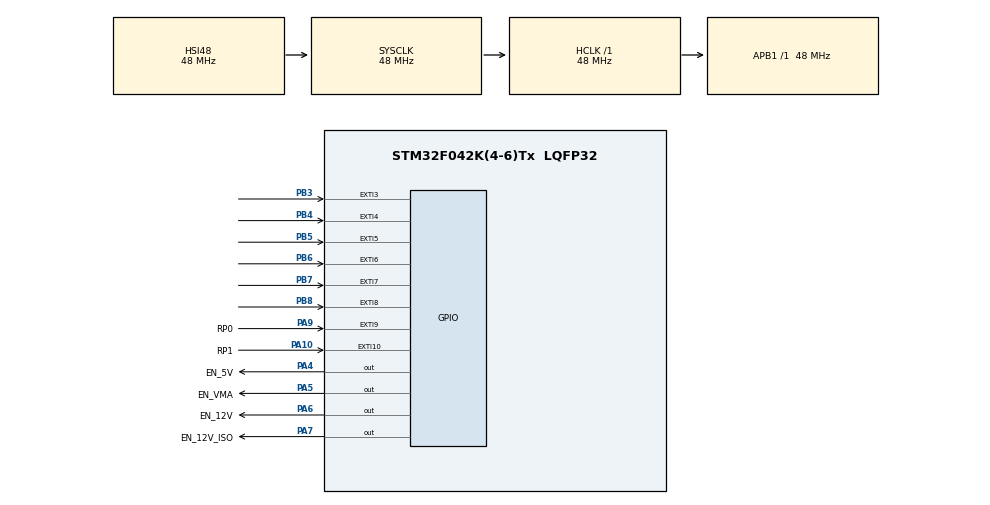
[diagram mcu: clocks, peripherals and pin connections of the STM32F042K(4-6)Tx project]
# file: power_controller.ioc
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Mcu.Family=STM32F0
Mcu.Name=STM32F042K(4-6)Tx
Mcu.Package=LQFP32
NVIC.EXTI2_3_IRQn=true\:0\:0\:false\:false\:true\:true\:true\:true
NVIC.EXTI4_15_IRQn=true\:0\:0\:false\:false\:true\:true\:true\:true
PA10.GPIO_Label=RP1
PA10.Signal=GPXTI10
PA13.Mode=Serial_Wire
PA13.Signal=SYS_SWDIO
PA14.Mode=Serial_Wire
PA14.Signal=SYS_SWCLK
PA4.GPIO_Label=EN_5V
PA4.Signal=GPIO_Output
PA5.GPIO_Label=EN_VMA
PA5.Signal=GPIO_Output
PA6.GPIO_Label=EN_12V
PA6.Signal=GPIO_Output
PA7.GPIO_Label=EN_12V_ISO
PA7.Signal=GPIO_Output
PA9.GPIO_Label=RP0
PA9.Signal=GPXTI9
PB3.Signal=GPXTI3
PB4.Signal=GPXTI4
PB5.Signal=GPXTI5
PB6.Signal=GPXTI6
PB7.Signal=GPXTI7
PB8.Signal=GPXTI8
PF0-OSC_IN.Mode=HSE-External-Oscillator
PF0-OSC_IN.Signal=RCC_OSC_IN
PF1-OSC_OUT.Mode=HSE-External-Oscillator
PF1-OSC_OUT.Signal=RCC_OSC_OUT
ProjectManager.HeapSize=0x200
ProjectManager.StackSize=0x400
ProjectManager.TargetToolchain=STM32CubeIDE
RCC.AHBFreq_Value=48000000
RCC.APB1Freq_Value=48000000
RCC.APB1TimFreq_Value=48000000
RCC.HCLKFreq_Value=48000000
RCC.PLLSourceVirtual=RCC_PLLSOURCE_HSE
RCC.SYSCLKFreq_VALUE=48000000
RCC.SYSCLKSource=RCC_SYSCLKSOURCE_HSI48
board=custom

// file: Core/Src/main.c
/* USER CODE BEGIN Header */
/**
  ******************************************************************************
  * @file           : main.c
  * @brief          : Main program body
  ******************************************************************************
  * @attention
  *
  * Copyright (c) 2023 STMicroelectronics.
  * All rights reserved.
  *
  * This software is licensed under terms that can be found in the LICENSE file
  * in the root directory of this software component.
  * If no LICENSE file comes with this software, it is provided AS-IS.
  *
  ******************************************************************************
  */
/* USER CODE END Header */
#include "main.h"

/* USER CODE BEGIN Includes */
#include <stdbool.h>
/* USER CODE END Includes */

/* USER CODE BEGIN PV */
 bool button_flag = false;
 bool button4 = false;
 bool button5 = false;
 bool button6 = false;
 bool button7 = false;

/* USER CODE END PV */

void SystemClock_Config(void);
static void MX_GPIO_Init(void);
/* USER CODE BEGIN PFP */
void Power_State_Machine(void);
/* USER CODE END PFP */

/* USER CODE BEGIN 0 */
//struct states{
//static const uint8_t STATE_1; // default state, all peripheral is off except thrusters controller
//static const uint8_t STATE_2; // 5V and 22V ENABLE
//static const uint8_t STATE_3; // 12V ENABLE
//static const uint8_t STATE_4; // 22V ENABLE
//static const uint8_t STATE_5; // RESET (go to STATE_1 for 5s then return to previous state
//};
/* USER CODE END 0 */

int main(void)
{

  /* MCU Configuration--------------------------------------------------------*/

  /* Reset of all peripherals, Initializes the Flash interface and the Systick. */
  HAL_Init();

  /* Configure the system clock */
  SystemClock_Config();

  /* Initialize all configured peripherals */
  MX_GPIO_Init();

  /* Infinite loop */
  while (1)
  {

    /* USER CODE BEGIN 3 */

	  if(button7){ //STATE 2 ( RP, WIFI, UWB)
		  HAL_GPIO_WritePin(GPIOA,EN_VMA_Pin, GPIO_PIN_RESET);
		  HAL_GPIO_WritePin(GPIOA,EN_5V_Pin, GPIO_PIN_SET);
		  HAL_GPIO_WritePin(GPIOA,EN_12V_Pin, GPIO_PIN_RESET);
		  HAL_GPIO_WritePin(GPIOA,EN_12V_ISO_Pin, GPIO_PIN_RESET);
		  button7 = false;
	  }

	  if(button6){ //STATE 3 ( RP, WIFI, UWB, UWave)
		  HAL_GPIO_WritePin(GPIOA,EN_VMA_Pin, GPIO_PIN_RESET);
		  HAL_GPIO_WritePin(GPIOA,EN_5V_Pin, GPIO_PIN_SET);
		  HAL_GPIO_WritePin(GPIOA,EN_12V_Pin, GPIO_PIN_SET);
		  HAL_GPIO_WritePin(GPIOA,EN_12V_ISO_Pin, GPIO_PIN_SET);
		  button6 = false;
	  }

	  if(button5){ //STATE 4 ( RP, WIFI, UWB, UWave, VMA  ALL ON)
		  HAL_GPIO_WritePin(GPIOA,EN_5V_Pin, GPIO_PIN_SET);
		  HAL_GPIO_WritePin(GPIOA,EN_VMA_Pin, GPIO_PIN_SET);
		  HAL_GPIO_WritePin(GPIOA,EN_12V_Pin, GPIO_PIN_SET);
		  HAL_GPIO_WritePin(GPIOA,EN_12V_ISO_Pin, GPIO_PIN_SET);
		  button5 = false;
	  }

	  if(button4){ //STATE 5 ( ALL OFF)
		  HAL_GPIO_WritePin(GPIOA,EN_5V_Pin, GPIO_PIN_RESET);
		  HAL_GPIO_WritePin(GPIOA,EN_VMA_Pin, GPIO_PIN_RESET);
		  HAL_GPIO_WritePin(GPIOA,EN_12V_Pin, GPIO_PIN_RESET);
		  HAL_GPIO_WritePin(GPIOA,EN_12V_ISO_Pin, GPIO_PIN_RESET);
		  button4 = false;
	  }
		 // HAL_GPIO_WritePin(GPIOA,EN_5V_Pin, GPIO_PIN_SET);

		  //VMA turn on
		  if((HAL_GPIO_ReadPin(GPIOA,RP0_Pin)==GPIO_PIN_SET) && (HAL_GPIO_ReadPin(GPIOA,RP1_Pin)==GPIO_PIN_RESET))
			  HAL_GPIO_WritePin(GPIOA,EN_VMA_Pin, GPIO_PIN_SET);
		  else
			  //VMA turn off (State 3)
			  HAL_GPIO_WritePin(GPIOA,EN_VMA_Pin, GPIO_PIN_RESET);
	//Power_State_Machine();
//  }
  /* USER CODE END 3 */
}
}

void SystemClock_Config(void)
{
  RCC_OscInitTypeDef RCC_OscInitStruct = {0};
  RCC_ClkInitTypeDef RCC_ClkInitStruct = {0};

  /** Initializes the RCC Oscillators according to the specified parameters
  * in the RCC_OscInitTypeDef structure.
  */
  RCC_OscInitStruct.OscillatorType = RCC_OSCILLATORTYPE_HSI48;
  RCC_OscInitStruct.HSI48State = RCC_HSI48_ON;
  RCC_OscInitStruct.PLL.PLLState = RCC_PLL_NONE;
  if (HAL_RCC_OscConfig(&RCC_OscInitStruct) != HAL_OK)
  {
    Error_Handler();
  }

  /** Initializes the CPU, AHB and APB buses clocks
  */
  RCC_ClkInitStruct.ClockType = RCC_CLOCKTYPE_HCLK|RCC_CLOCKTYPE_SYSCLK
                              |RCC_CLOCKTYPE_PCLK1;
  RCC_ClkInitStruct.SYSCLKSource = RCC_SYSCLKSOURCE_HSI48;
  RCC_ClkInitStruct.AHBCLKDivider = RCC_SYSCLK_DIV1;
  RCC_ClkInitStruct.APB1CLKDivider = RCC_HCLK_DIV1;

  if (HAL_RCC_ClockConfig(&RCC_ClkInitStruct, FLASH_LATENCY_1) != HAL_OK)
  {
    Error_Handler();
  }
}

static void MX_GPIO_Init(void)
{
  GPIO_InitTypeDef GPIO_InitStruct = {0};

  /* GPIO Ports Clock Enable */
  __HAL_RCC_GPIOF_CLK_ENABLE();
  __HAL_RCC_GPIOA_CLK_ENABLE();
  __HAL_RCC_GPIOB_CLK_ENABLE();

  /*Configure GPIO pin Output Level */
  HAL_GPIO_WritePin(GPIOA, EN_5V_Pin|EN_VMA_Pin|EN_12V_Pin|EN_12V_ISO_Pin, GPIO_PIN_RESET);

  /*Configure GPIO pins : BUTTON_Pin RP0_Pin RP1_Pin */
  GPIO_InitStruct.Pin = RP0_Pin|RP1_Pin;
  GPIO_InitStruct.Mode = GPIO_MODE_IT_RISING;
  GPIO_InitStruct.Pull = GPIO_NOPULL;
  HAL_GPIO_Init(GPIOA, &GPIO_InitStruct);

  /*Configure GPIO pins : EN_5V_Pin EN_VMA_Pin EN_12V_Pin EN_12V_ISO_Pin */
  GPIO_InitStruct.Pin = EN_5V_Pin|EN_VMA_Pin|EN_12V_Pin|EN_12V_ISO_Pin;
  GPIO_InitStruct.Mode = GPIO_MODE_OUTPUT_PP;
  GPIO_InitStruct.Pull = GPIO_NOPULL;
  GPIO_InitStruct.Speed = GPIO_SPEED_FREQ_LOW;
  HAL_GPIO_Init(GPIOA, &GPIO_InitStruct);

  /*Configure GPIO pins : PB4 PB5 PB6 PB7 */
  GPIO_InitStruct.Pin = GPIO_PIN_4|GPIO_PIN_5|GPIO_PIN_6|GPIO_PIN_7;
  GPIO_InitStruct.Mode = GPIO_MODE_IT_RISING;
  GPIO_InitStruct.Pull = GPIO_NOPULL;
  HAL_GPIO_Init(GPIOB, &GPIO_InitStruct);

  /* EXTI interrupt init*/
  HAL_NVIC_SetPriority(EXTI2_3_IRQn, 0, 0);
  HAL_NVIC_EnableIRQ(EXTI2_3_IRQn);

  HAL_NVIC_SetPriority(EXTI4_15_IRQn, 0, 0);
  HAL_NVIC_EnableIRQ(EXTI4_15_IRQn);

}

/* USER CODE BEGIN 4 */
void Power_State_Machine(void){
	 if(button_flag){
		 HAL_GPIO_WritePin(GPIOA,EN_VMA_Pin, GPIO_PIN_SET);
		 button_flag = false;
	 }
	 else
		 HAL_GPIO_WritePin(GPIOA,EN_VMA_Pin, GPIO_PIN_RESET);

}

void HAL_GPIO_EXTI_Callback(uint16_t GPIO_Pin)
{
   if(GPIO_Pin == GPIO_PIN_4)
   {
      button4 = true;
   }

   if(GPIO_Pin == GPIO_PIN_5)
   {
	   button5 = true;
   }

   if(GPIO_Pin == GPIO_PIN_6)
   {
	   button6 = true;
   }

   if(GPIO_Pin == GPIO_PIN_7)
   {
	   button7 = true;
   }
}
/* USER CODE END 4 */

void Error_Handler(void)
{
  __disable_irq();
  while (1)
  {
  }
}
